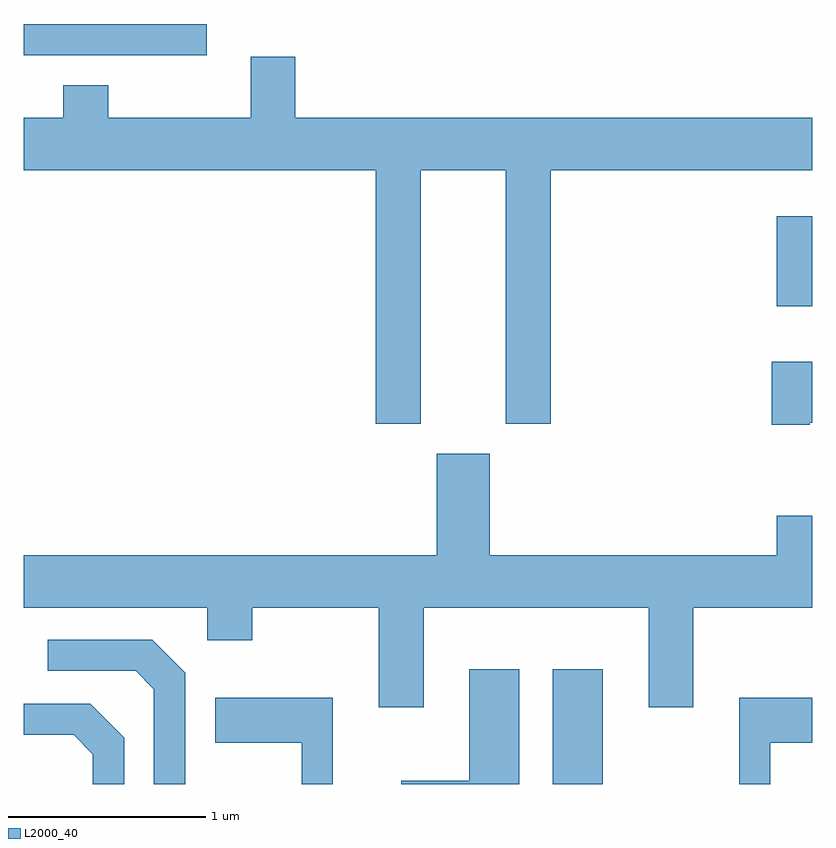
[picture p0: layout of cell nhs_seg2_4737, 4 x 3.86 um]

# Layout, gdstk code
import gdstk
lib = gdstk.Library(unit=1e-6, precision=1e-09)
def R(c, l, rs):  # rectangles x0, y0, x1, y1
    for r in rs: c.add(gdstk.rectangle(r[:2], r[2:], *l))
def P(c, l, *ps):  # polygons
    for p in ps: c.add(gdstk.Polygon(p, *l))
L2000_40 = (2000, 40)

nhs_seg2_4737 = lib.new_cell('nhs_seg2_4737')
R(nhs_seg2_4737, L2000_40, [(326.296,1111.802,326.549,1112.384), (327.431,1114.226,327.611,1114.684), (323.611,1115.501,324.538,1115.659)])
P(nhs_seg2_4737, L2000_40, [(323.811,1115.349),(323.811,1115.184),(323.611,1115.184),(323.611,1114.916),(325.396,1114.916),(325.396,1113.631),(325.624,1113.631),(325.624,1114.916),(326.056,1114.916),(326.056,1113.631),(326.284,1113.631),(326.284,1114.916),(327.611,1114.916),(327.611,1115.184),(324.989,1115.184),(324.989,1115.494),(324.761,1115.494),(324.761,1115.184),(324.039,1115.184),(324.039,1115.349)],
  [(327.6,1113.636),(327.611,1113.636),(327.611,1113.944),(327.406,1113.944),(327.406,1113.626),(327.6,1113.626)],
  [(325.639,1112.696),(326.781,1112.696),(326.781,1112.191),(327.009,1112.191),(327.009,1112.696),(327.611,1112.696),(327.611,1113.164),(327.431,1113.164),(327.431,1112.964),(325.974,1112.964),(325.974,1113.479),(325.706,1113.479),(325.706,1112.964),(323.611,1112.964),(323.611,1112.696),(324.541,1112.696),(324.541,1112.531),(324.769,1112.531),(324.769,1112.696),(325.411,1112.696),(325.411,1112.191),(325.639,1112.191)],
  [(324.429,1112.367),(324.262,1112.534),(323.733,1112.534),(323.733,1112.376),(324.179,1112.376),(324.271,1112.284),(324.271,1111.802),(324.429,1111.802)],
  [(326.124,1112.384),(325.871,1112.384),(325.871,1111.819),(325.526,1111.819),(325.526,1111.802),(326.124,1111.802)],
  [(325.179,1112.239),(324.581,1112.239),(324.581,1112.011),(325.021,1112.011),(325.021,1111.802),(325.179,1111.802)],
  [(327.399,1112.011),(327.611,1112.011),(327.611,1112.239),(327.241,1112.239),(327.241,1111.802),(327.399,1111.802)],
  [(324.119,1112.037),(323.947,1112.209),(323.611,1112.209),(323.611,1112.051),(323.864,1112.051),(323.961,1111.954),(323.961,1111.802),(324.119,1111.802)])

lib.write_gds('nhs_seg2_4737.gds')
